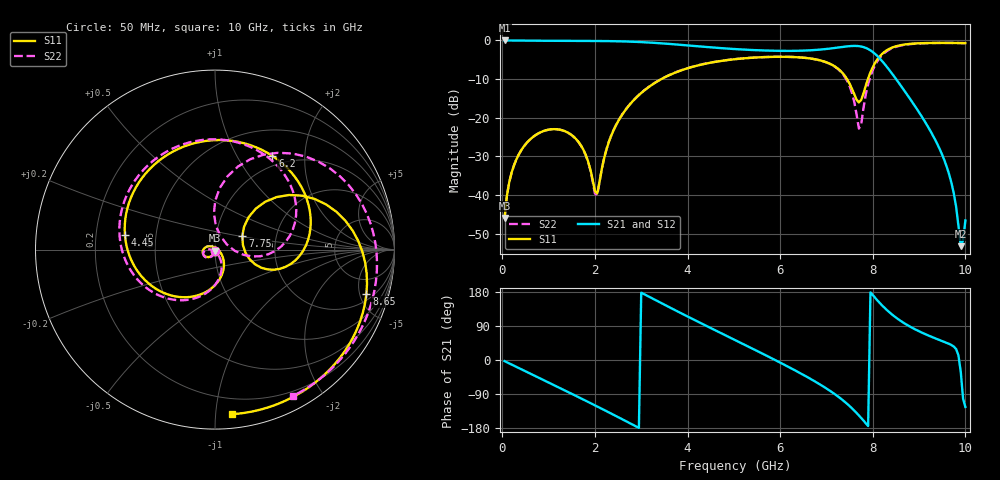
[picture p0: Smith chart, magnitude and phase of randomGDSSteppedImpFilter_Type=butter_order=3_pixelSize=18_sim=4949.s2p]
! freq	dB(S11)	phase(S11)	dB(S12)	phase(S12)
!  dB(S21)	phase(S21)	dB(S22)	phase(S22)
!S-par simulation data
#  GHz  S  DB  R 50
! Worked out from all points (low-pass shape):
!   200 points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, 50 MHz to 10 GHz, reference 50 ohm
!   highest |S21| = -0.01 dB at 50 MHz (marker M1); lowest = -53.3 dB at 9.9 GHz (marker M2)
!   |S21| within 3 dB of the highest: start of sweep to 8.001 GHz
!   lowest |S11| = -45.9 dB at 50 MHz (marker M3), VSWR 1.01, Z = 50 - j0.506 ohm
!   |S11| at or under -10 dB: start of sweep to 3.437 GHz; 7.444 GHz to 7.896 GHz (452.1 MHz wide, 5.89 % of centre)
!   |S22| runs from -45.9 to -0.6 dB; largest |S21 - S12| = 0
!   S11 on the Smith chart (normalised r, x): 50 MHz: 1.00, -0.01; 4.45 GHz: 0.33, +0.07; 6.2 GHz: 0.85, +1.42; 7.75 GHz: 1.34, +0.21; 8.65 GHz: 2.68, -5.79; 10 GHz: 0.09, -1.11
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0.05  -45.92 -88.5  -0.01 -3.0  -0.01 -3.0  -45.90 -88.5
0.25  -32.41 -104.9  -0.03 -15.0  -0.03 -15.0  -32.41 -103.5
0.65  -25.11 -131.1  -0.06 -38.7  -0.06 -38.7  -25.10 -127.2
1.25  -23.12 -170.1  -0.11 -74.3  -0.11 -74.3  -23.13 -160.3
1.75  -28.27 150.9  -0.13 -104.3  -0.13 -104.3  -28.35 177.9
2.05  -39.60 41.5  -0.14 -122.6  -0.14 -122.6  -40.07 -105.6
2.25  -28.20 -31.6  -0.17 -135.0  -0.17 -135.0  -28.13 -59.0
2.5  -20.95 -56.4  -0.22 -150.7  -0.22 -150.7  -20.90 -66.2
3.4  -10.24 -120.5  -0.72 152.3  -0.72 152.3  -10.20 -116.2
4.45  -5.87 170.6  -1.74 87.4  -1.74 87.4  -5.84 -176.5
5.05  -4.82 132.2  -2.26 51.2  -2.26 51.2  -4.80 149.9
6.2  -4.26 58.5  -2.71 -19.5  -2.71 -19.5  -4.26 83.2
6.7  -4.76 25.9  -2.52 -52.9  -2.52 -52.9  -4.77 51.1
7.35  -8.47 -16.5  -1.68 -105.8  -1.68 -105.8  -8.67 2.6
7.75  -15.39 26.3  -1.58 -152.9  -1.58 -152.9  -21.78 68.2
7.95  -8.25 43.6  -2.57 178.4  -2.57 178.4  -9.26 85.6
8.35  -2.22 7.9  -7.53 126.8  -7.53 126.8  -2.42 40.3
8.65  -1.12 -16.3  -12.45 99.4  -12.45 99.4  -1.22 13.2
9.55  -0.64 -65.2  -31.13 47.6  -31.13 47.6  -0.64 -41.0
9.75  -0.66 -73.8  -39.60 35.4  -39.60 35.4  -0.65 -50.5
9.9  -0.69 -80.0  -53.25 -31.2  -53.25 -31.2  -0.67 -57.3
10  -0.71 -84.0  -46.59 -124.0  -46.59 -124.0  -0.69 -61.7
